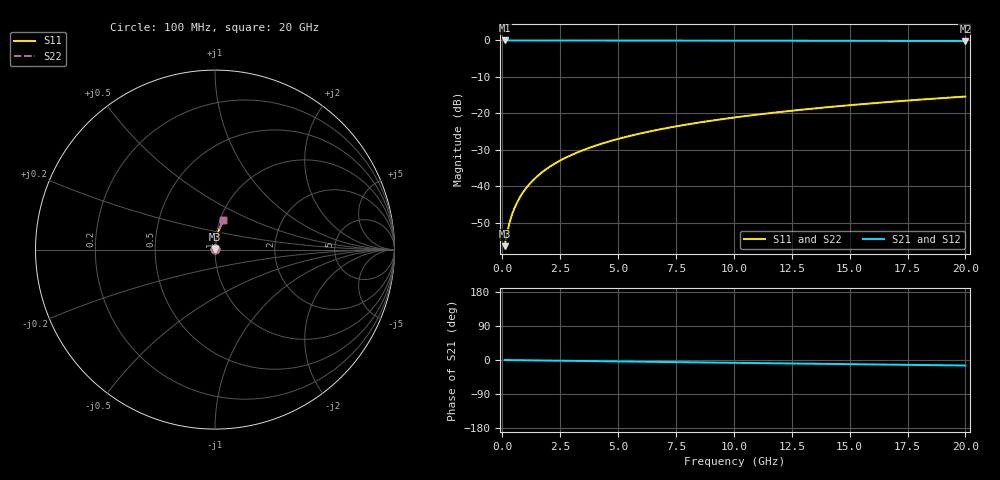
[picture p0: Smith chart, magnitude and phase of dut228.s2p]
! Touchstone file exported from HFSS 2026.1.0
!  File:  C:/ffzhzh/LocalFiles/Ansys_Project_Files/temp_train_TMRDL_228_1782984441_41620.aedt
!  Generated:  05:28:36 PM Jul  2, 2026
!  Design:  TMRDL
!  Project:  temp_train_TMRDL_228_1782984441_41620
! Variables:
!  h_bsmrdl = 2um
!  h_ox = 20um
!  h_rdl = 5um
!  h_sub = 80um
!  h_tmrdl = 4um
!  h_tsv = 80um
!  h_via = 3um
!  l_bsmrdl = 300um
!  l_sub = 562.78um
!  l_tmrdl = 162.78um
!  m_sub = 200um
!  pitch = 43.14um
!  r_tsv = 6um
!  s_tmrdl = 10um
!  w_bsmrdl = 18um
!  w_sub = 500um
!  w_tmrdl = 14.19um
!  x_tsv_center1 = 169.875um
!  x_tsv_center2 = 487.875um
!  x_tsv_center3 = 664.845um
!  x_tsv_center4 = 982.845um
!  x_tsv_center5 = 1159.815um
!  x_tsv_center6 = 1477.815um
# GHz S MA R 50.000000
! Terminal data exported
! Port[1] = TM_RDL1_1_T1
! Port[2] = TM_RDL1_1_T2
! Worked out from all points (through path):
!   200 points, 100 MHz to 20 GHz, reference 50 ohm
!   highest |S21| = -0.01 dB at 100 MHz (marker M1); lowest = -0.2 dB at 20 GHz (marker M2)
!   group delay of S21, straight-line fit = 2.02 ps
!   lowest |S11| = -56.5 dB at 100 MHz (marker M3), VSWR 1.00, Z = 50.1 + j0.0943 ohm
!   |S11| at or under -10 dB: start of sweep to end of sweep
!   |S22| runs from -56.5 to -15.4 dB; largest |S21 - S12| = 4.3e-15
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0.1  0.0015 38.8  0.9988 -0.1  0.9988 -0.1  0.0015 38.8
! Gamma 0 0 0 0
! Port Impedance 50 0 50 0
0.2  0.00222 57.3  0.9988 -0.2  0.9988 -0.2  0.00222 57.3
0.3  0.003044 66.0  0.9988 -0.2  0.9988 -0.2  0.003044 66.0
0.4  0.003897 70.9  0.9987 -0.3  0.9987 -0.3  0.003897 70.9
0.5  0.00476 74.0  0.9987 -0.4  0.9987 -0.4  0.00476 74.0
0.6  0.00563 76.2  0.9987 -0.5  0.9987 -0.5  0.00563 76.2
0.8  0.00738 79.0  0.9986 -0.6  0.9986 -0.6  0.00738 79.0
1.1  0.01002 81.3  0.9986 -0.8  0.9986 -0.8  0.01002 81.3
1.5  0.01357 82.8  0.9985 -1.1  0.9985 -1.1  0.01357 82.8
1.8  0.01623 83.5  0.9984 -1.4  0.9984 -1.4  0.01623 83.5
2.1  0.0189 83.9  0.9983 -1.6  0.9983 -1.6  0.0189 83.9
2.7  0.02422 84.2  0.9981 -2.0  0.9981 -2.0  0.02422 84.2
3.5  0.0313 84.2  0.9978 -2.6  0.9978 -2.6  0.0313 84.2
4.2  0.03746 83.9  0.9974 -3.1  0.9974 -3.1  0.03746 83.9
5  0.04446 83.6  0.9969 -3.7  0.9969 -3.7  0.04446 83.6
5.9  0.05229 83.1  0.9963 -4.4  0.9963 -4.4  0.05229 83.1
6.8  0.06007 82.6  0.9957 -5.1  0.9957 -5.1  0.06007 82.6
8.3  0.07294 81.6  0.9945 -6.2  0.9945 -6.2  0.07294 81.6
10.1  0.08823 80.4  0.9929 -7.5  0.9929 -7.5  0.08823 80.4
13.4  0.1159 78.3  0.9895 -9.9  0.9895 -9.9  0.1159 78.3
16.7  0.143 76.1  0.9855 -12.2  0.9855 -12.2  0.143 76.1
20  0.1696 73.9  0.9809 -14.6  0.9809 -14.6  0.1696 73.9
